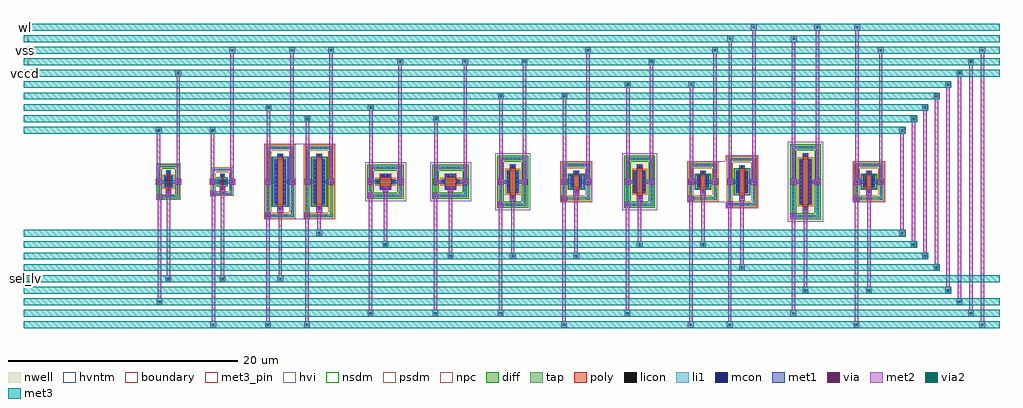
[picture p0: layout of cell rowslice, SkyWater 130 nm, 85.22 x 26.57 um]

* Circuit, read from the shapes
.subckt rowslice sel_lv vccd vdda vss vwl wl
XM1 vss sel_lv d_nfet_01v8_w0p5_l0p15_0/D vss sky130_fd_pr__nfet_01v8 w=0.5 l=0.15
XM2 vss sel_lv d_nfet_g5v0d10v5_w4_l0p5_2/D vss sky130_fd_pr__nfet_g5v0d10v5 w=4 l=0.5
XM3 vss d_nfet_01v8_w0p5_l0p15_0/D d_nfet_g5v0d10v5_w4_l0p5_3/D vss sky130_fd_pr__nfet_g5v0d10v5 w=4 l=0.5
XM4 vss d_nfet_g5v0d10v5_w4_l0p5_2/D d_nfet_g5v0d10v5_w1_l0p5_7/D vss sky130_fd_pr__nfet_g5v0d10v5 w=1 l=0.5
XM5 vss d_nfet_g5v0d10v5_w4_l0p5_3/D d_nfet_g5v0d10v5_w1_l0p5_9/D vss sky130_fd_pr__nfet_g5v0d10v5 w=1 l=0.5
XM6 wl d_nfet_g5v0d10v5_w1_l0p5_7/D vwl vss sky130_fd_pr__nfet_g5v0d10v5 w=2 l=0.5
XM7 vss d_nfet_g5v0d10v5_w1_l0p5_9/D wl vss sky130_fd_pr__nfet_g5v0d10v5 w=1 l=0.5
XM8 vccd sel_lv d_nfet_01v8_w0p5_l0p15_0/D vccd sky130_fd_pr__pfet_01v8 w=1 l=0.15
XM9 vdda d_nfet_g5v0d10v5_w4_l0p5_3/D d_nfet_g5v0d10v5_w4_l0p5_2/D vdda sky130_fd_pr__pfet_g5v0d10v5 w=0.42 l=1
XM10 vdda d_nfet_g5v0d10v5_w4_l0p5_2/D d_nfet_g5v0d10v5_w4_l0p5_3/D vdda sky130_fd_pr__pfet_g5v0d10v5 w=0.42 l=1
XM11 vdda d_nfet_g5v0d10v5_w4_l0p5_2/D d_nfet_g5v0d10v5_w1_l0p5_7/D vdda sky130_fd_pr__pfet_g5v0d10v5 w=2 l=0.5
XM12 vdda d_nfet_g5v0d10v5_w4_l0p5_3/D d_nfet_g5v0d10v5_w1_l0p5_9/D vdda sky130_fd_pr__pfet_g5v0d10v5 w=2 l=0.5
XM13 wl d_nfet_g5v0d10v5_w1_l0p5_9/D vwl vdda sky130_fd_pr__pfet_g5v0d10v5 w=4 l=0.5
.ends

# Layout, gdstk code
import gdstk
lib = gdstk.Library(unit=1e-6, precision=1e-09)
def R(c, l, rs):  # rectangles x0, y0, x1, y1
    for r in rs: c.add(gdstk.rectangle(r[:2], r[2:], *l))
def A(c, l, x, y, w, h, nx, ny, dx, dy):  # array of equal rectangles
    R(c, l, [(x+i*dx, y+j*dy, x+i*dx+w, y+j*dy+h) for i in range(nx) for j in range(ny)])
nwell = (64, 20)
diff = (65, 20)
tap = (65, 44)
poly = (66, 20)
licon = (66, 44)
li1 = (67, 20)
mcon = (67, 44)
met1 = (68, 20)
via = (68, 44)
met2 = (69, 20)
via2 = (69, 44)
met3_pin = (70, 16)
met3 = (70, 20)
hvi = (75, 20)
nsdm = (93, 44)
psdm = (94, 20)
npc = (95, 20)
hvntm = (125, 20)
boundary = (235, 4)

d_nfet_01v8_w0p5_l0p15 = lib.new_cell('d_nfet_01v8_w0p5_l0p15')
R(d_nfet_01v8_w0p5_l0p15, diff, [(-0.365,-0.25,0.365,0.25)])
R(d_nfet_01v8_w0p5_l0p15, tap, [(-0.875,-1.12,0.875,-0.95), (-0.875,-0.95,-0.705,0.95), (0.705,-0.95,0.875,0.95), (-0.875,0.95,0.875,1.12)])
R(d_nfet_01v8_w0p5_l0p15, poly, [(-0.165,-0.69,0.165,-0.36), (-0.075,-0.36,0.075,0.36), (-0.165,0.36,0.165,0.69)])
A(d_nfet_01v8_w0p5_l0p15, licon, -0.875, -0.595, 0.17, 0.17, 1, 4, 0, 0.34)
A(d_nfet_01v8_w0p5_l0p15, licon, 0.705, -0.595, 0.17, 0.17, 1, 4, 0, 0.34)
R(d_nfet_01v8_w0p5_l0p15, licon, [(-0.255,-1.12,-0.085,-0.95), (0.085,-1.12,0.255,-0.95), (-0.085,-0.61,0.085,-0.44), (-0.305,-0.085,-0.135,0.085), (0.135,-0.085,0.305,0.085), (-0.085,0.44,0.085,0.61), (-0.255,0.95,-0.085,1.12), (0.085,0.95,0.255,1.12)])
R(d_nfet_01v8_w0p5_l0p15, li1, [(-0.875,-1.12,0.875,-0.95), (-0.875,-0.95,-0.705,0.95), (0.705,-0.95,0.875,0.95), (-0.165,-0.61,0.165,-0.44), (-0.305,-0.27,-0.135,0.27), (0.135,-0.27,0.305,0.27), (-0.165,0.44,0.165,0.61), (-0.875,0.95,0.875,1.12)])
R(d_nfet_01v8_w0p5_l0p15, mcon, [(-0.085,-0.61,0.085,-0.44), (-0.305,-0.085,-0.135,0.085), (0.135,-0.085,0.305,0.085), (-0.085,0.44,0.085,0.61)])
R(d_nfet_01v8_w0p5_l0p15, met1, [(-0.145,-0.64,0.145,-0.41), (-0.335,-0.25,-0.105,0.25), (0.105,-0.25,0.335,0.25), (-0.145,0.41,0.145,0.64)])
R(d_nfet_01v8_w0p5_l0p15, nsdm, [(-0.49,-0.375,0.49,0.375)])
R(d_nfet_01v8_w0p5_l0p15, psdm, [(-1,-1.245,1,-0.825), (-1,-0.825,-0.58,0.825), (0.58,-0.825,1,0.825), (-1,0.825,1,1.245)])
R(d_nfet_01v8_w0p5_l0p15, npc, [(-0.185,-0.71,0.185,-0.34), (-0.185,0.34,0.185,0.71)])
R(d_nfet_01v8_w0p5_l0p15, boundary, [(-0.79,-1.035,0.79,1.035)])
d_nfet_01v8_w0p5_l0p15.add(gdstk.Label('B', (0,-1.035), layer=67, texttype=5))
d_nfet_01v8_w0p5_l0p15.add(gdstk.Label('D', (-0.22,0), layer=67, texttype=5))
d_nfet_01v8_w0p5_l0p15.add(gdstk.Label('S', (0.22,0), layer=67, texttype=5))
d_nfet_01v8_w0p5_l0p15.add(gdstk.Label('G', (0,0.525), layer=67, texttype=5))

d_pfet_01v8_w1_l0p15 = lib.new_cell('d_pfet_01v8_w1_l0p15')
R(d_pfet_01v8_w1_l0p15, nwell, [(-1.055,-1.595,1.055,1.595)])
R(d_pfet_01v8_w1_l0p15, diff, [(-0.365,-0.5,0.365,0.5)])
R(d_pfet_01v8_w1_l0p15, tap, [(-0.875,-1.415,0.875,-1.245), (-0.875,-1.245,-0.705,1.245), (0.705,-1.245,0.875,1.245), (-0.875,1.245,0.875,1.415)])
R(d_pfet_01v8_w1_l0p15, poly, [(-0.165,-0.985,0.165,-0.655), (-0.075,-0.655,0.075,0.655), (-0.165,0.655,0.165,0.985)])
A(d_pfet_01v8_w1_l0p15, licon, -0.875, -0.935, 0.17, 0.17, 1, 6, 0, 0.34)
A(d_pfet_01v8_w1_l0p15, licon, 0.705, -0.935, 0.17, 0.17, 1, 6, 0, 0.34)
A(d_pfet_01v8_w1_l0p15, licon, -0.305, -0.425, 0.17, 0.17, 1, 3, 0, 0.34)
A(d_pfet_01v8_w1_l0p15, licon, 0.135, -0.425, 0.17, 0.17, 1, 3, 0, 0.34)
R(d_pfet_01v8_w1_l0p15, licon, [(-0.255,-1.415,-0.085,-1.245), (0.085,-1.415,0.255,-1.245), (-0.085,-0.905,0.085,-0.735), (-0.085,0.735,0.085,0.905), (-0.255,1.245,-0.085,1.415), (0.085,1.245,0.255,1.415)])
R(d_pfet_01v8_w1_l0p15, li1, [(-0.875,-1.415,0.875,-1.245), (-0.875,-1.245,-0.705,1.245), (0.705,-1.245,0.875,1.245), (-0.165,-0.905,0.165,-0.735), (-0.305,-0.52,-0.135,0.52), (0.135,-0.52,0.305,0.52), (-0.165,0.735,0.165,0.905), (-0.875,1.245,0.875,1.415)])
R(d_pfet_01v8_w1_l0p15, mcon, [(-0.085,-0.905,0.085,-0.735), (-0.305,-0.265,-0.135,-0.095), (0.135,-0.265,0.305,-0.095), (-0.305,0.095,-0.135,0.265), (0.135,0.095,0.305,0.265), (-0.085,0.735,0.085,0.905)])
R(d_pfet_01v8_w1_l0p15, met1, [(-0.145,-0.935,0.145,-0.705), (-0.335,-0.5,-0.105,0.5), (0.105,-0.5,0.335,0.5), (-0.145,0.705,0.145,0.935)])
R(d_pfet_01v8_w1_l0p15, nsdm, [(-1,-1.54,1,-1.12), (-1,-1.12,-0.58,1.12), (0.58,-1.12,1,1.12), (-1,1.12,1,1.54)])
R(d_pfet_01v8_w1_l0p15, psdm, [(-0.49,-0.625,0.49,0.625)])
R(d_pfet_01v8_w1_l0p15, npc, [(-0.185,-1.005,0.185,-0.635), (-0.185,0.635,0.185,1.005)])
R(d_pfet_01v8_w1_l0p15, boundary, [(-0.79,-1.33,0.79,1.33)])
d_pfet_01v8_w1_l0p15.add(gdstk.Label('B', (0,-1.33), layer=67, texttype=5))
d_pfet_01v8_w1_l0p15.add(gdstk.Label('D', (-0.22,0), layer=67, texttype=5))
d_pfet_01v8_w1_l0p15.add(gdstk.Label('S', (0.22,0), layer=67, texttype=5))
d_pfet_01v8_w1_l0p15.add(gdstk.Label('G', (0,0.82), layer=67, texttype=5))

d_nfet_g5v0d10v5_w4_l0p5 = lib.new_cell('d_nfet_g5v0d10v5_w4_l0p5')
R(d_nfet_g5v0d10v5_w4_l0p5, diff, [(-0.54,-2,0.54,2)])
R(d_nfet_g5v0d10v5_w4_l0p5, tap, [(-1.22,-3.11,1.22,-2.82), (-1.22,-2.82,-0.93,2.82), (0.93,-2.82,1.22,2.82), (-1.22,2.82,1.22,3.11)])
R(d_nfet_g5v0d10v5_w4_l0p5, poly, [(-0.25,-2.44,0.25,2.44)])
A(d_nfet_g5v0d10v5_w4_l0p5, licon, -0.595, -3.05, 0.17, 0.17, 4, 2, 0.34, 5.93)
A(d_nfet_g5v0d10v5_w4_l0p5, licon, -1.16, -2.465, 0.17, 0.17, 1, 15, 0, 0.34)
A(d_nfet_g5v0d10v5_w4_l0p5, licon, 0.99, -2.465, 0.17, 0.17, 1, 15, 0, 0.34)
A(d_nfet_g5v0d10v5_w4_l0p5, licon, -0.48, -1.785, 0.17, 0.17, 1, 11, 0, 0.34)
A(d_nfet_g5v0d10v5_w4_l0p5, licon, 0.31, -1.785, 0.17, 0.17, 1, 11, 0, 0.34)
R(d_nfet_g5v0d10v5_w4_l0p5, licon, [(-0.085,-2.36,0.085,-2.19), (-0.085,2.19,0.085,2.36)])
R(d_nfet_g5v0d10v5_w4_l0p5, li1, [(-1.16,-3.05,1.16,-2.88), (-1.16,-2.88,-0.99,2.88), (0.99,-2.88,1.16,2.88), (-0.25,-2.36,0.25,-2.19), (-0.48,-2.02,-0.31,2.02), (0.31,-2.02,0.48,2.02), (-0.25,2.19,0.25,2.36), (-1.16,2.88,1.16,3.05)])
A(d_nfet_g5v0d10v5_w4_l0p5, mcon, -0.48, -1.885, 0.17, 0.17, 1, 11, 0, 0.36)
A(d_nfet_g5v0d10v5_w4_l0p5, mcon, 0.31, -1.885, 0.17, 0.17, 1, 11, 0, 0.36)
R(d_nfet_g5v0d10v5_w4_l0p5, mcon, [(-0.085,-2.36,0.085,-2.19), (-0.085,2.19,0.085,2.36)])
R(d_nfet_g5v0d10v5_w4_l0p5, met1, [(-0.23,-2.39,0.23,-2.16), (-0.51,-2,-0.28,2), (0.28,-2,0.51,2), (-0.23,2.16,0.23,2.39)])
R(d_nfet_g5v0d10v5_w4_l0p5, hvi, [(-1.405,-3.295,1.405,3.295)])
R(d_nfet_g5v0d10v5_w4_l0p5, nsdm, [(-0.665,-2.125,0.665,2.125)])
R(d_nfet_g5v0d10v5_w4_l0p5, psdm, [(-1.345,-3.235,1.345,-2.695), (-1.345,-2.695,-0.805,2.695), (0.805,-2.695,1.345,2.695), (-1.345,2.695,1.345,3.235)])
R(d_nfet_g5v0d10v5_w4_l0p5, npc, [(-0.185,-2.46,0.185,-2.09), (-0.185,2.09,0.185,2.46)])
R(d_nfet_g5v0d10v5_w4_l0p5, hvntm, [(-0.725,-2.185,0.725,2.185)])
R(d_nfet_g5v0d10v5_w4_l0p5, boundary, [(-1.075,-2.965,1.075,2.965)])
d_nfet_g5v0d10v5_w4_l0p5.add(gdstk.Label('B', (0,-2.965), layer=67, texttype=5))
d_nfet_g5v0d10v5_w4_l0p5.add(gdstk.Label('D', (-0.395,0), layer=67, texttype=5))
d_nfet_g5v0d10v5_w4_l0p5.add(gdstk.Label('S', (0.395,0), layer=67, texttype=5))
d_nfet_g5v0d10v5_w4_l0p5.add(gdstk.Label('G', (0,2.275), layer=67, texttype=5))

d_pfet_g5v0d10v5_w0p42_l = lib.new_cell('d_pfet_g5v0d10v5_w0p42_l1')
R(d_pfet_g5v0d10v5_w0p42_l, nwell, [(-1.79,-1.695,1.79,1.695)])
R(d_pfet_g5v0d10v5_w0p42_l, diff, [(-0.79,-0.21,0.79,0.21)])
R(d_pfet_g5v0d10v5_w0p42_l, tap, [(-1.46,-1.365,1.46,-1.075), (-1.46,-1.075,-1.17,1.075), (1.17,-1.075,1.46,1.075), (-1.46,1.075,1.46,1.365)])
R(d_pfet_g5v0d10v5_w0p42_l, poly, [(-0.5,-0.695,0.5,0.695)])
A(d_pfet_g5v0d10v5_w0p42_l, licon, -0.765, -1.305, 0.17, 0.17, 5, 2, 0.34, 2.44)
A(d_pfet_g5v0d10v5_w0p42_l, licon, -1.4, -0.765, 0.17, 0.17, 1, 5, 0, 0.34)
A(d_pfet_g5v0d10v5_w0p42_l, licon, 1.23, -0.765, 0.17, 0.17, 1, 5, 0, 0.34)
R(d_pfet_g5v0d10v5_w0p42_l, licon, [(-0.255,-0.615,-0.085,-0.445), (0.085,-0.615,0.255,-0.445), (-0.73,-0.085,-0.56,0.085), (0.56,-0.085,0.73,0.085), (-0.255,0.445,-0.085,0.615), (0.085,0.445,0.255,0.615)])
R(d_pfet_g5v0d10v5_w0p42_l, li1, [(-1.4,-1.305,1.4,-1.135), (-1.4,-1.135,-1.23,1.135), (1.23,-1.135,1.4,1.135), (-0.5,-0.615,0.5,-0.445), (-0.73,-0.23,-0.56,0.23), (0.56,-0.23,0.73,0.23), (-0.5,0.445,0.5,0.615), (-1.4,1.135,1.4,1.305)])
R(d_pfet_g5v0d10v5_w0p42_l, mcon, [(-0.265,-0.615,-0.095,-0.445), (0.095,-0.615,0.265,-0.445), (-0.73,-0.085,-0.56,0.085), (0.56,-0.085,0.73,0.085), (-0.265,0.445,-0.095,0.615), (0.095,0.445,0.265,0.615)])
R(d_pfet_g5v0d10v5_w0p42_l, met1, [(-0.48,-0.645,0.48,-0.415), (-0.76,-0.21,-0.53,0.21), (0.53,-0.21,0.76,0.21), (-0.48,0.415,0.48,0.645)])
R(d_pfet_g5v0d10v5_w0p42_l, hvi, [(-1.79,-1.695,1.79,1.695)])
R(d_pfet_g5v0d10v5_w0p42_l, nsdm, [(-1.585,-1.49,1.585,-0.95), (-1.585,-0.95,-1.045,0.95), (1.045,-0.95,1.585,0.95), (-1.585,0.95,1.585,1.49)])
R(d_pfet_g5v0d10v5_w0p42_l, psdm, [(-0.915,-0.335,0.915,0.335)])
R(d_pfet_g5v0d10v5_w0p42_l, npc, [(-0.355,-0.715,0.355,-0.345), (-0.355,0.345,0.355,0.715)])
R(d_pfet_g5v0d10v5_w0p42_l, boundary, [(-1.315,-1.22,1.315,1.22)])
d_pfet_g5v0d10v5_w0p42_l.add(gdstk.Label('B', (0,-1.22), layer=67, texttype=5))
d_pfet_g5v0d10v5_w0p42_l.add(gdstk.Label('D', (-0.645,0), layer=67, texttype=5))
d_pfet_g5v0d10v5_w0p42_l.add(gdstk.Label('S', (0.645,0), layer=67, texttype=5))
d_pfet_g5v0d10v5_w0p42_l.add(gdstk.Label('G', (0,0.53), layer=67, texttype=5))

d_pfet_g5v0d10v5_w2_l0p5 = lib.new_cell('d_pfet_g5v0d10v5_w2_l0p5')
R(d_pfet_g5v0d10v5_w2_l0p5, nwell, [(-1.54,-2.485,1.54,2.485)])
R(d_pfet_g5v0d10v5_w2_l0p5, diff, [(-0.54,-1,0.54,1)])
R(d_pfet_g5v0d10v5_w2_l0p5, tap, [(-1.21,-2.155,1.21,-1.865), (-1.21,-1.865,-0.92,1.865), (0.92,-1.865,1.21,1.865), (-1.21,1.865,1.21,2.155)])
R(d_pfet_g5v0d10v5_w2_l0p5, poly, [(-0.25,-1.485,0.25,1.485)])
A(d_pfet_g5v0d10v5_w2_l0p5, licon, -0.595, -2.095, 0.17, 0.17, 4, 2, 0.34, 4.02)
A(d_pfet_g5v0d10v5_w2_l0p5, licon, -1.15, -1.615, 0.17, 0.17, 1, 10, 0, 0.34)
A(d_pfet_g5v0d10v5_w2_l0p5, licon, 0.98, -1.615, 0.17, 0.17, 1, 10, 0, 0.34)
A(d_pfet_g5v0d10v5_w2_l0p5, licon, -0.48, -0.935, 0.17, 0.17, 1, 6, 0, 0.34)
A(d_pfet_g5v0d10v5_w2_l0p5, licon, 0.31, -0.935, 0.17, 0.17, 1, 6, 0, 0.34)
R(d_pfet_g5v0d10v5_w2_l0p5, licon, [(-0.085,-1.405,0.085,-1.235), (-0.085,1.235,0.085,1.405)])
R(d_pfet_g5v0d10v5_w2_l0p5, li1, [(-1.15,-2.095,1.15,-1.925), (-1.15,-1.925,-0.98,1.925), (0.98,-1.925,1.15,1.925), (-0.25,-1.405,0.25,-1.235), (-0.48,-1.02,-0.31,1.02), (0.31,-1.02,0.48,1.02), (-0.25,1.235,0.25,1.405), (-1.15,1.925,1.15,2.095)])
A(d_pfet_g5v0d10v5_w2_l0p5, mcon, -0.48, -0.805, 0.17, 0.17, 1, 5, 0, 0.36)
A(d_pfet_g5v0d10v5_w2_l0p5, mcon, 0.31, -0.805, 0.17, 0.17, 1, 5, 0, 0.36)
R(d_pfet_g5v0d10v5_w2_l0p5, mcon, [(-0.085,-1.405,0.085,-1.235), (-0.085,1.235,0.085,1.405)])
R(d_pfet_g5v0d10v5_w2_l0p5, met1, [(-0.23,-1.435,0.23,-1.205), (-0.51,-1,-0.28,1), (0.28,-1,0.51,1), (-0.23,1.205,0.23,1.435)])
R(d_pfet_g5v0d10v5_w2_l0p5, hvi, [(-1.54,-2.485,1.54,2.485)])
R(d_pfet_g5v0d10v5_w2_l0p5, nsdm, [(-1.335,-2.28,1.335,-1.74), (-1.335,-1.74,-0.795,1.74), (0.795,-1.74,1.335,1.74), (-1.335,1.74,1.335,2.28)])
R(d_pfet_g5v0d10v5_w2_l0p5, psdm, [(-0.665,-1.125,0.665,1.125)])
R(d_pfet_g5v0d10v5_w2_l0p5, npc, [(-0.185,-1.505,0.185,-1.135), (-0.185,1.135,0.185,1.505)])
R(d_pfet_g5v0d10v5_w2_l0p5, boundary, [(-1.065,-2.01,1.065,2.01)])
d_pfet_g5v0d10v5_w2_l0p5.add(gdstk.Label('B', (0,-2.01), layer=67, texttype=5))
d_pfet_g5v0d10v5_w2_l0p5.add(gdstk.Label('D', (-0.395,0), layer=67, texttype=5))
d_pfet_g5v0d10v5_w2_l0p5.add(gdstk.Label('S', (0.395,0), layer=67, texttype=5))
d_pfet_g5v0d10v5_w2_l0p5.add(gdstk.Label('G', (0,1.32), layer=67, texttype=5))

d_nfet_g5v0d10v5_w1_l0p5 = lib.new_cell('d_nfet_g5v0d10v5_w1_l0p5')
R(d_nfet_g5v0d10v5_w1_l0p5, diff, [(-0.54,-0.5,0.54,0.5)])
R(d_nfet_g5v0d10v5_w1_l0p5, tap, [(-1.22,-1.61,1.22,-1.32), (-1.22,-1.32,-0.93,1.32), (0.93,-1.32,1.22,1.32), (-1.22,1.32,1.22,1.61)])
R(d_nfet_g5v0d10v5_w1_l0p5, poly, [(-0.25,-0.94,0.25,0.94)])
A(d_nfet_g5v0d10v5_w1_l0p5, licon, -0.595, -1.55, 0.17, 0.17, 4, 2, 0.34, 2.93)
A(d_nfet_g5v0d10v5_w1_l0p5, licon, -1.16, -0.935, 0.17, 0.17, 1, 6, 0, 0.34)
A(d_nfet_g5v0d10v5_w1_l0p5, licon, 0.99, -0.935, 0.17, 0.17, 1, 6, 0, 0.34)
A(d_nfet_g5v0d10v5_w1_l0p5, licon, -0.48, -0.425, 0.17, 0.17, 1, 3, 0, 0.34)
A(d_nfet_g5v0d10v5_w1_l0p5, licon, 0.31, -0.425, 0.17, 0.17, 1, 3, 0, 0.34)
R(d_nfet_g5v0d10v5_w1_l0p5, licon, [(-0.085,-0.86,0.085,-0.69), (-0.085,0.69,0.085,0.86)])
R(d_nfet_g5v0d10v5_w1_l0p5, li1, [(-1.16,-1.55,1.16,-1.38), (-1.16,-1.38,-0.99,1.38), (0.99,-1.38,1.16,1.38), (-0.25,-0.86,0.25,-0.69), (-0.48,-0.52,-0.31,0.52), (0.31,-0.52,0.48,0.52), (-0.25,0.69,0.25,0.86), (-1.16,1.38,1.16,1.55)])
R(d_nfet_g5v0d10v5_w1_l0p5, mcon, [(-0.085,-0.86,0.085,-0.69), (-0.48,-0.265,-0.31,-0.095), (0.31,-0.265,0.48,-0.095), (-0.48,0.095,-0.31,0.265), (0.31,0.095,0.48,0.265), (-0.085,0.69,0.085,0.86)])
R(d_nfet_g5v0d10v5_w1_l0p5, met1, [(-0.23,-0.89,0.23,-0.66), (-0.51,-0.5,-0.28,0.5), (0.28,-0.5,0.51,0.5), (-0.23,0.66,0.23,0.89)])
R(d_nfet_g5v0d10v5_w1_l0p5, hvi, [(-1.405,-1.795,1.405,1.795)])
R(d_nfet_g5v0d10v5_w1_l0p5, nsdm, [(-0.665,-0.625,0.665,0.625)])
R(d_nfet_g5v0d10v5_w1_l0p5, psdm, [(-1.345,-1.735,1.345,-1.195), (-1.345,-1.195,-0.805,1.195), (0.805,-1.195,1.345,1.195), (-1.345,1.195,1.345,1.735)])
R(d_nfet_g5v0d10v5_w1_l0p5, npc, [(-0.185,-0.96,0.185,-0.59), (-0.185,0.59,0.185,0.96)])
R(d_nfet_g5v0d10v5_w1_l0p5, hvntm, [(-0.725,-0.685,0.725,0.685)])
R(d_nfet_g5v0d10v5_w1_l0p5, boundary, [(-1.075,-1.465,1.075,1.465)])
d_nfet_g5v0d10v5_w1_l0p5.add(gdstk.Label('B', (0,-1.465), layer=67, texttype=5))
d_nfet_g5v0d10v5_w1_l0p5.add(gdstk.Label('D', (-0.395,0), layer=67, texttype=5))
d_nfet_g5v0d10v5_w1_l0p5.add(gdstk.Label('S', (0.395,0), layer=67, texttype=5))
d_nfet_g5v0d10v5_w1_l0p5.add(gdstk.Label('G', (0,0.775), layer=67, texttype=5))

d_nfet_g5v0d10v5_w2_l0p5 = lib.new_cell('d_nfet_g5v0d10v5_w2_l0p5')
R(d_nfet_g5v0d10v5_w2_l0p5, diff, [(-0.54,-1,0.54,1)])
R(d_nfet_g5v0d10v5_w2_l0p5, tap, [(-1.22,-2.11,1.22,-1.82), (-1.22,-1.82,-0.93,1.82), (0.93,-1.82,1.22,1.82), (-1.22,1.82,1.22,2.11)])
R(d_nfet_g5v0d10v5_w2_l0p5, poly, [(-0.25,-1.44,0.25,1.44)])
A(d_nfet_g5v0d10v5_w2_l0p5, licon, -0.595, -2.05, 0.17, 0.17, 4, 2, 0.34, 3.93)
A(d_nfet_g5v0d10v5_w2_l0p5, licon, -1.16, -1.445, 0.17, 0.17, 1, 9, 0, 0.34)
A(d_nfet_g5v0d10v5_w2_l0p5, licon, 0.99, -1.445, 0.17, 0.17, 1, 9, 0, 0.34)
A(d_nfet_g5v0d10v5_w2_l0p5, licon, -0.48, -0.935, 0.17, 0.17, 1, 6, 0, 0.34)
A(d_nfet_g5v0d10v5_w2_l0p5, licon, 0.31, -0.935, 0.17, 0.17, 1, 6, 0, 0.34)
R(d_nfet_g5v0d10v5_w2_l0p5, licon, [(-0.085,-1.36,0.085,-1.19), (-0.085,1.19,0.085,1.36)])
R(d_nfet_g5v0d10v5_w2_l0p5, li1, [(-1.16,-2.05,1.16,-1.88), (-1.16,-1.88,-0.99,1.88), (0.99,-1.88,1.16,1.88), (-0.25,-1.36,0.25,-1.19), (-0.48,-1.02,-0.31,1.02), (0.31,-1.02,0.48,1.02), (-0.25,1.19,0.25,1.36), (-1.16,1.88,1.16,2.05)])
A(d_nfet_g5v0d10v5_w2_l0p5, mcon, -0.48, -0.805, 0.17, 0.17, 1, 5, 0, 0.36)
A(d_nfet_g5v0d10v5_w2_l0p5, mcon, 0.31, -0.805, 0.17, 0.17, 1, 5, 0, 0.36)
R(d_nfet_g5v0d10v5_w2_l0p5, mcon, [(-0.085,-1.36,0.085,-1.19), (-0.085,1.19,0.085,1.36)])
R(d_nfet_g5v0d10v5_w2_l0p5, met1, [(-0.23,-1.39,0.23,-1.16), (-0.51,-1,-0.28,1), (0.28,-1,0.51,1), (-0.23,1.16,0.23,1.39)])
R(d_nfet_g5v0d10v5_w2_l0p5, hvi, [(-1.405,-2.295,1.405,2.295)])
R(d_nfet_g5v0d10v5_w2_l0p5, nsdm, [(-0.665,-1.125,0.665,1.125)])
R(d_nfet_g5v0d10v5_w2_l0p5, psdm, [(-1.345,-2.235,1.345,-1.695), (-1.345,-1.695,-0.805,1.695), (0.805,-1.695,1.345,1.695), (-1.345,1.695,1.345,2.235)])
R(d_nfet_g5v0d10v5_w2_l0p5, npc, [(-0.185,-1.46,0.185,-1.09), (-0.185,1.09,0.185,1.46)])
R(d_nfet_g5v0d10v5_w2_l0p5, hvntm, [(-0.725,-1.185,0.725,1.185)])
R(d_nfet_g5v0d10v5_w2_l0p5, boundary, [(-1.075,-1.965,1.075,1.965)])
d_nfet_g5v0d10v5_w2_l0p5.add(gdstk.Label('B', (0,-1.965), layer=67, texttype=5))
d_nfet_g5v0d10v5_w2_l0p5.add(gdstk.Label('D', (-0.395,0), layer=67, texttype=5))
d_nfet_g5v0d10v5_w2_l0p5.add(gdstk.Label('S', (0.395,0), layer=67, texttype=5))
d_nfet_g5v0d10v5_w2_l0p5.add(gdstk.Label('G', (0,1.275), layer=67, texttype=5))

d_pfet_g5v0d10v5_w4_l0p5 = lib.new_cell('d_pfet_g5v0d10v5_w4_l0p5')
R(d_pfet_g5v0d10v5_w4_l0p5, nwell, [(-1.54,-3.485,1.54,3.485)])
R(d_pfet_g5v0d10v5_w4_l0p5, diff, [(-0.54,-2,0.54,2)])
R(d_pfet_g5v0d10v5_w4_l0p5, tap, [(-1.21,-3.155,1.21,-2.865), (-1.21,-2.865,-0.92,2.865), (0.92,-2.865,1.21,2.865), (-1.21,2.865,1.21,3.155)])
R(d_pfet_g5v0d10v5_w4_l0p5, poly, [(-0.25,-2.485,0.25,2.485)])
A(d_pfet_g5v0d10v5_w4_l0p5, licon, -0.595, -3.095, 0.17, 0.17, 4, 2, 0.34, 6.02)
A(d_pfet_g5v0d10v5_w4_l0p5, licon, -1.15, -2.465, 0.17, 0.17, 1, 15, 0, 0.34)
A(d_pfet_g5v0d10v5_w4_l0p5, licon, 0.98, -2.465, 0.17, 0.17, 1, 15, 0, 0.34)
A(d_pfet_g5v0d10v5_w4_l0p5, licon, -0.48, -1.785, 0.17, 0.17, 1, 11, 0, 0.34)
A(d_pfet_g5v0d10v5_w4_l0p5, licon, 0.31, -1.785, 0.17, 0.17, 1, 11, 0, 0.34)
R(d_pfet_g5v0d10v5_w4_l0p5, licon, [(-0.085,-2.405,0.085,-2.235), (-0.085,2.235,0.085,2.405)])
R(d_pfet_g5v0d10v5_w4_l0p5, li1, [(-1.15,-3.095,1.15,-2.925), (-1.15,-2.925,-0.98,2.925), (0.98,-2.925,1.15,2.925), (-0.25,-2.405,0.25,-2.235), (-0.48,-2.02,-0.31,2.02), (0.31,-2.02,0.48,2.02), (-0.25,2.235,0.25,2.405), (-1.15,2.925,1.15,3.095)])
A(d_pfet_g5v0d10v5_w4_l0p5, mcon, -0.48, -1.885, 0.17, 0.17, 1, 11, 0, 0.36)
A(d_pfet_g5v0d10v5_w4_l0p5, mcon, 0.31, -1.885, 0.17, 0.17, 1, 11, 0, 0.36)
R(d_pfet_g5v0d10v5_w4_l0p5, mcon, [(-0.085,-2.405,0.085,-2.235), (-0.085,2.235,0.085,2.405)])
R(d_pfet_g5v0d10v5_w4_l0p5, met1, [(-0.23,-2.435,0.23,-2.205), (-0.51,-2,-0.28,2), (0.28,-2,0.51,2), (-0.23,2.205,0.23,2.435)])
R(d_pfet_g5v0d10v5_w4_l0p5, hvi, [(-1.54,-3.485,1.54,3.485)])
R(d_pfet_g5v0d10v5_w4_l0p5, nsdm, [(-1.335,-3.28,1.335,-2.74), (-1.335,-2.74,-0.795,2.74), (0.795,-2.74,1.335,2.74), (-1.335,2.74,1.335,3.28)])
R(d_pfet_g5v0d10v5_w4_l0p5, psdm, [(-0.665,-2.125,0.665,2.125)])
R(d_pfet_g5v0d10v5_w4_l0p5, npc, [(-0.185,-2.505,0.185,-2.135), (-0.185,2.135,0.185,2.505)])
R(d_pfet_g5v0d10v5_w4_l0p5, boundary, [(-1.065,-3.01,1.065,3.01)])
d_pfet_g5v0d10v5_w4_l0p5.add(gdstk.Label('B', (0,-3.01), layer=67, texttype=5))
d_pfet_g5v0d10v5_w4_l0p5.add(gdstk.Label('D', (-0.395,0), layer=67, texttype=5))
d_pfet_g5v0d10v5_w4_l0p5.add(gdstk.Label('S', (0.395,0), layer=67, texttype=5))
d_pfet_g5v0d10v5_w4_l0p5.add(gdstk.Label('G', (0,2.32), layer=67, texttype=5))

rowslice = lib.new_cell('rowslice')
R(rowslice, li1, [(55.53,-3.095,55.7,-2.925), (9.66,-3.05,9.83,-2.88), (13.06,-3.05,13.23,-2.88), (29.97,-2.095,30.14,-1.925), (41.05,-2.095,41.22,-1.925), (49.98,-2.05,50.15,-1.88), (35.5,-1.55,35.67,-1.38), (46.58,-1.55,46.75,-1.38), (61.06,-1.55,61.23,-1.38), (0.18,-1.415,0.35,-1.245), (18.61,-1.305,18.78,-1.135), (24.29,-1.305,24.46,-1.135), (4.89,-1.12,5.06,-0.95)])
R(rowslice, mcon, [(55.53,-3.095,55.7,-2.925), (9.66,-3.05,9.83,-2.88), (13.06,-3.05,13.23,-2.88), (29.97,-2.095,30.14,-1.925), (41.05,-2.095,41.22,-1.925), (49.98,-2.05,50.15,-1.88), (35.5,-1.55,35.67,-1.38), (46.58,-1.55,46.75,-1.38), (61.06,-1.55,61.23,-1.38), (0.18,-1.415,0.35,-1.245), (18.61,-1.305,18.78,-1.135), (24.29,-1.305,24.46,-1.135), (4.89,-1.12,5.06,-0.95)])
R(rowslice, met1, [(55.365,-3.26,55.865,-2.76), (9.495,-3.215,9.995,-2.715), (12.895,-3.215,13.395,-2.715), (56.43,-2.705,56.93,-2.205), (10.57,-2.66,11.07,-2.16), (13.97,-2.66,14.47,-2.16), (29.805,-2.26,30.305,-1.76), (40.885,-2.26,41.385,-1.76), (49.815,-2.215,50.315,-1.715), (35.335,-1.715,35.835,-1.215), (46.415,-1.715,46.915,-1.215), (60.895,-1.715,61.395,-1.215), (30.87,-1.705,31.37,-1.205), (41.95,-1.705,42.45,-1.205), (50.89,-1.66,51.39,-1.16), (0.015,-1.58,0.515,-1.08), (18.445,-1.47,18.945,-0.97), (24.125,-1.47,24.625,-0.97), (4.725,-1.285,5.225,-0.785), (0.805,-1.205,1.305,-0.705), (36.41,-1.16,36.91,-0.66), (47.49,-1.16,47.99,-0.66), (61.97,-1.16,62.47,-0.66), (19.76,-0.915,20.26,-0.415), (25.44,-0.915,25.94,-0.415), (5.515,-0.91,6.015,-0.41), (-0.05,-0.25,0.45,-0.15), (1.66,-0.25,2.16,-0.15), (4.66,-0.25,5.16,-0.15), (6.37,-0.25,6.87,-0.15), (9.54,-0.25,10.04,-0.15), (11.6,-0.25,12.1,-0.15), (12.94,-0.25,13.44,-0.15), (15,-0.25,15.5,-0.15), (18.48,-0.25,18.98,-0.15), (21.04,-0.25,21.54,-0.15), (24.16,-0.25,24.66,-0.15), (26.72,-0.25,27.22,-0.15), (29.84,-0.25,30.34,-0.15), (31.9,-0.25,32.4,-0.15), (35.38,-0.25,35.88,-0.15), (37.44,-0.25,37.94,-0.15), (40.92,-0.25,41.42,-0.15), (42.98,-0.25,43.48,-0.15), (46.46,-0.25,46.96,-0.15), (48.52,-0.25,49.02,-0.15), (49.86,-0.25,50.36,-0.15), (51.92,-0.25,52.42,-0.15), (55.4,-0.25,55.9,-0.15), (57.46,-0.25,57.96,-0.15), (60.94,-0.25,61.44,-0.15), (63,-0.25,63.5,-0.15), (-0.05,-0.15,0.75,0.15), (1.36,-0.15,2.16,0.15), (4.66,-0.15,5.46,0.15), (6.07,-0.15,6.87,0.15), (9.54,-0.15,10.34,0.15), (11.3,-0.15,12.1,0.15), (12.94,-0.15,13.74,0.15), (14.7,-0.15,15.5,0.15), (18.48,-0.15,19.28,0.15), (20.74,-0.15,21.54,0.15), (24.16,-0.15,24.96,0.15), (26.42,-0.15,27.22,0.15), (29.84,-0.15,30.64,0.15), (31.6,-0.15,32.4,0.15), (35.38,-0.15,36.18,0.15), (37.14,-0.15,37.94,0.15), (40.92,-0.15,41.72,0.15), (42.68,-0.15,43.48,0.15), (46.46,-0.15,47.26,0.15), (48.22,-0.15,49.02,0.15), (49.86,-0.15,50.66,0.15), (51.62,-0.15,52.42,0.15), (55.4,-0.15,56.2,0.15), (57.16,-0.15,57.96,0.15), (60.94,-0.15,61.74,0.15), (62.7,-0.15,63.5,0.15), (-0.05,0.15,0.45,0.25), (1.66,0.15,2.16,0.25), (4.66,0.15,5.16,0.25), (6.37,0.15,6.87,0.25), (9.54,0.15,10.04,0.25), (11.6,0.15,12.1,0.25), (12.94,0.15,13.44,0.25), (15,0.15,15.5,0.25), (18.48,0.15,18.98,0.25), (21.04,0.15,21.54,0.25), (24.16,0.15,24.66,0.25), (26.72,0.15,27.22,0.25), (29.84,0.15,30.34,0.25), (31.9,0.15,32.4,0.25), (35.38,0.15,35.88,0.25), (37.44,0.15,37.94,0.25), (40.92,0.15,41.42,0.25), (42.98,0.15,43.48,0.25), (46.46,0.15,46.96,0.25), (48.52,0.15,49.02,0.25), (49.86,0.15,50.36,0.25), (51.92,0.15,52.42,0.25), (55.4,0.15,55.9,0.25), (57.46,0.15,57.96,0.25), (60.94,0.15,61.44,0.25), (63,0.15,63.5,0.25), (5.565,0.41,5.965,0.71), (19.81,0.415,20.21,0.715), (25.49,0.415,25.89,0.715), (36.46,0.66,36.86,0.96), (47.54,0.66,47.94,0.96), (62.02,0.66,62.42,0.96), (0.855,0.705,1.255,1.005), (50.94,1.16,51.34,1.46), (30.92,1.205,31.32,1.505), (42,1.205,42.4,1.505), (10.62,2.16,11.02,2.46), (14.02,2.16,14.42,2.46), (56.48,2.205,56.88,2.505)])
R(rowslice, via, [(55.54,-3.085,55.69,-2.935), (9.67,-3.04,9.82,-2.89), (13.07,-3.04,13.22,-2.89), (56.605,-2.53,56.755,-2.38), (10.745,-2.485,10.895,-2.335), (14.145,-2.485,14.295,-2.335), (29.98,-2.085,30.13,-1.935), (41.06,-2.085,41.21,-1.935), (49.99,-2.04,50.14,-1.89), (35.51,-1.54,35.66,-1.39), (46.59,-1.54,46.74,-1.39), (61.07,-1.54,61.22,-1.39), (31.045,-1.53,31.195,-1.38), (42.125,-1.53,42.275,-1.38), (51.065,-1.485,51.215,-1.335), (0.19,-1.405,0.34,-1.255), (18.62,-1.295,18.77,-1.145), (24.3,-1.295,24.45,-1.145), (4.9,-1.11,5.05,-0.96), (0.98,-1.03,1.13,-0.88), (36.585,-0.985,36.735,-0.835), (47.665,-0.985,47.815,-0.835), (62.145,-0.985,62.295,-0.835), (19.935,-0.74,20.085,-0.59), (25.615,-0.74,25.765,-0.59), (5.69,-0.735,5.84,-0.585), (0.125,-0.075,0.275,0.075), (1.835,-0.075,1.985,0.075), (4.835,-0.075,4.985,0.075), (6.545,-0.075,6.695,0.075), (9.715,-0.075,9.865,0.075), (11.775,-0.075,11.925,0.075), (13.115,-0.075,13.265,0.075), (15.175,-0.075,15.325,0.075), (18.655,-0.075,18.805,0.075), (21.215,-0.075,21.365,0.075), (24.335,-0.075,24.485,0.075), (26.895,-0.075,27.045,0.075), (30.015,-0.075,30.165,0.075), (32.075,-0.075,32.225,0.075), (35.555,-0.075,35.705,0.075), (37.615,-0.075,37.765,0.075), (41.095,-0.075,41.245,0.075), (43.155,-0.075,43.305,0.075), (46.635,-0.075,46.785,0.075), (48.695,-0.075,48.845,0.075), (50.035,-0.075,50.185,0.075), (52.095,-0.075,52.245,0.075), (55.575,-0.075,55.725,0.075), (57.635,-0.075,57.785,0.075), (61.115,-0.075,61.265,0.075), (63.175,-0.075,63.325,0.075)])
A(rowslice, met2, 18.445, -11.735, 0.5, 0.5, 3, 1, 5.68, 0)
R(rowslice, met2, [(4.725,-12.735,5.225,-12.235), (9.495,-12.735,9.995,-12.235), (12.895,-12.735,13.395,-12.235), (35.335,-12.735,35.835,-12.235), (46.415,-12.735,46.915,-12.235), (49.815,-12.735,50.315,-12.235), (60.895,-12.735,61.395,-12.235), (71.87,-12.735,72.37,-12.235), (4.825,-12.235,5.125,-1.285), (9.595,-12.235,9.895,-3.215), (12.995,-12.235,13.295,-3.215), (35.435,-12.235,35.735,-1.715), (46.515,-12.235,46.815,-1.715), (49.915,-12.235,50.215,-2.215), (60.995,-12.235,61.295,-1.715), (71.97,-12.235,72.27,11.235), (40.885,-11.735,41.385,-11.235), (55.365,-11.735,55.865,-11.235), (70.87,-11.735,71.37,-11.235), (18.545,-11.235,18.845,-1.47), (24.225,-11.235,24.525,-1.47), (29.905,-11.235,30.205,-2.26), (40.985,-11.235,41.285,-2.26), (55.465,-11.235,55.765,-3.26), (70.97,-11.235,71.27,10.235), (0.015,-10.735,0.515,-10.235), (69.87,-10.735,70.37,-10.235), (0.115,-10.235,0.415,-1.58), (69.97,-10.235,70.27,9.235), (56.43,-9.735,56.93,-9.235), (61.97,-9.735,62.47,-9.235), (68.87,-9.735,69.37,-9.235), (56.53,-9.235,56.83,-2.705), (62.07,-9.235,62.37,-1.16), (68.97,-9.235,69.27,8.235), (0.805,-8.735,1.305,-8.235), (5.515,-8.735,6.015,-8.235), (10.57,-8.735,11.07,-8.235), (0.905,-8.235,1.205,-1.205), (5.615,-8.235,5.915,-0.91), (10.67,-8.235,10.97,-2.66), (50.89,-7.735,51.39,-7.235), (67.87,-7.735,68.37,-7.235), (50.99,-7.235,51.29,-1.66), (67.97,-7.235,68.27,7.235), (25.44,-6.735,25.94,-6.235), (30.87,-6.735,31.37,-6.235), (36.41,-6.735,36.91,-6.235), (66.87,-6.735,67.37,-6.235), (25.54,-6.235,25.84,-0.915), (30.97,-6.235,31.27,-1.705), (36.51,-6.235,36.81,-1.16), (66.97,-6.235,67.27,6.235), (19.76,-5.735,20.26,-5.235), (41.95,-5.735,42.45,-5.235), (47.49,-5.735,47.99,-5.235), (65.87,-5.735,66.37,-5.235), (19.86,-5.235,20.16,-0.915), (42.05,-5.235,42.35,-1.705), (47.59,-5.235,47.89,-1.16), (65.97,-5.235,66.27,5.235), (13.97,-4.735,14.47,-4.235), (64.87,-4.735,65.37,-4.235), (14.07,-4.235,14.37,-2.66), (64.97,-4.235,65.27,4.235), (55.365,-3.26,55.865,-2.76), (9.495,-3.215,9.995,-2.715), (12.895,-3.215,13.395,-2.715), (56.43,-2.705,56.93,-2.205), (10.57,-2.66,11.07,-2.16), (13.97,-2.66,14.47,-2.16), (29.805,-2.26,30.305,-1.76), (40.885,-2.26,41.385,-1.76), (49.815,-2.215,50.315,-1.715), (35.335,-1.715,35.835,-1.215), (46.415,-1.715,46.915,-1.215), (60.895,-1.715,61.395,-1.215), (30.87,-1.705,31.37,-1.205), (41.95,-1.705,42.45,-1.205), (50.89,-1.66,51.39,-1.16), (0.015,-1.58,0.515,-1.08), (18.445,-1.47,18.945,-0.97), (24.125,-1.47,24.625,-0.97), (4.725,-1.285,5.225,-0.785), (0.805,-1.205,1.305,-0.705), (36.41,-1.16,36.91,-0.66), (47.49,-1.16,47.99,-0.66), (61.97,-1.16,62.47,-0.66), (19.76,-0.915,20.26,-0.415), (25.44,-0.915,25.94,-0.415), (5.515,-0.91,6.015,-0.41), (-0.05,-0.25,0.45,0.25), (1.66,-0.25,2.16,0.25), (4.66,-0.25,5.16,0.25), (6.37,-0.25,6.87,0.25), (9.54,-0.25,10.04,0.25), (11.6,-0.25,12.1,0.25), (12.94,-0.25,13.44,0.25), (15,-0.25,15.5,0.25), (18.48,-0.25,18.98,0.25), (21.04,-0.25,21.54,0.25), (24.16,-0.25,24.66,0.25), (26.72,-0.25,27.22,0.25), (29.84,-0.25,30.34,0.25), (31.9,-0.25,32.4,0.25), (35.38,-0.25,35.88,0.25), (37.44,-0.25,37.94,0.25), (40.92,-0.25,41.42,0.25), (42.98,-0.25,43.48,0.25), (46.46,-0.25,46.96,0.25), (48.52,-0.25,49.02,0.25), (49.86,-0.25,50.36,0.25), (51.92,-0.25,52.42,0.25), (55.4,-0.25,55.9,0.25), (57.46,-0.25,57.96,0.25), (60.94,-0.25,61.44,0.25), (63,-0.25,63.5,0.25), (0.05,0.25,0.35,4.235), (1.76,0.25,2.06,9.235), (4.76,0.25,5.06,4.235), (6.47,0.25,6.77,11.235), (9.64,0.25,9.94,6.235), (11.7,0.25,12,11.235), (13.04,0.25,13.34,5.235), (15.1,0.25,15.4,11.235), (18.58,0.25,18.88,6.235), (21.14,0.25,21.44,10.235), (24.26,0.25,24.56,5.235), (26.82,0.25,27.12,10.235), (29.94,0.25,30.24,7.235), (32,0.25,32.3,10.235), (35.48,0.25,35.78,7.235), (37.54,0.25,37.84,11.235), (41.02,0.25,41.32,8.235), (43.08,0.25,43.38,10.235), (46.56,0.25,46.86,8.235), (48.62,0.25,48.92,11.235), (49.96,0.25,50.26,12.235), (52.02,0.25,52.32,13.235), (55.5,0.25,55.8,12.235), (57.56,0.25,57.86,13.235), (61.04,0.25,61.34,13.235), (63.1,0.25,63.4,11.235), (-0.05,4.235,0.45,4.735), (4.66,4.235,5.16,4.735), (64.87,4.235,65.37,4.735), (12.94,5.235,13.44,5.735), (24.16,5.235,24.66,5.735), (65.87,5.235,66.37,5.735), (9.54,6.235,10.04,6.735), (18.48,6.235,18.98,6.735), (66.87,6.235,67.37,6.735), (29.84,7.235,30.34,7.735), (35.38,7.235,35.88,7.735), (67.87,7.235,68.37,7.735), (40.92,8.235,41.42,8.735), (46.46,8.235,46.96,8.735), (68.87,8.235,69.37,8.735), (1.66,9.235,2.16,9.735), (69.87,9.235,70.37,9.735), (21.04,10.235,21.54,10.735), (26.72,10.235,27.22,10.735), (31.9,10.235,32.4,10.735), (42.98,10.235,43.48,10.735), (70.87,10.235,71.37,10.735), (6.37,11.235,6.87,11.735), (11.6,11.235,12.1,11.735), (15,11.235,15.5,11.735), (37.44,11.235,37.94,11.735), (48.52,11.235,49.02,11.735), (63,11.235,63.5,11.735), (71.87,11.235,72.37,11.735), (49.86,12.235,50.36,12.735), (55.4,12.235,55.9,12.735), (51.92,13.235,52.42,13.735), (57.46,13.235,57.96,13.735), (60.94,13.235,61.44,13.735)])
A(rowslice, via2, 18.595, -11.585, 0.2, 0.2, 3, 1, 5.68, 0)
R(rowslice, via2, [(4.875,-12.585,5.075,-12.385), (9.645,-12.585,9.845,-12.385), (13.045,-12.585,13.245,-12.385), (35.485,-12.585,35.685,-12.385), (46.565,-12.585,46.765,-12.385), (49.965,-12.585,50.165,-12.385), (61.045,-12.585,61.245,-12.385), (72.02,-12.585,72.22,-12.385), (41.035,-11.585,41.235,-11.385), (55.515,-11.585,55.715,-11.385), (71.02,-11.585,71.22,-11.385), (0.165,-10.585,0.365,-10.385), (70.02,-10.585,70.22,-10.385), (56.58,-9.585,56.78,-9.385), (62.12,-9.585,62.32,-9.385), (69.02,-9.585,69.22,-9.385), (0.955,-8.585,1.155,-8.385), (5.665,-8.585,5.865,-8.385), (10.72,-8.585,10.92,-8.385), (51.04,-7.585,51.24,-7.385), (68.02,-7.585,68.22,-7.385), (25.59,-6.585,25.79,-6.385), (31.02,-6.585,31.22,-6.385), (36.56,-6.585,36.76,-6.385), (67.02,-6.585,67.22,-6.385), (19.91,-5.585,20.11,-5.385), (42.1,-5.585,42.3,-5.385), (47.64,-5.585,47.84,-5.385), (66.02,-5.585,66.22,-5.385), (14.12,-4.585,14.32,-4.385), (65.02,-4.585,65.22,-4.385), (0.1,4.385,0.3,4.585), (4.81,4.385,5.01,4.585), (65.02,4.385,65.22,4.585), (13.09,5.385,13.29,5.585), (24.31,5.385,24.51,5.585), (66.02,5.385,66.22,5.585), (9.69,6.385,9.89,6.585), (18.63,6.385,18.83,6.585), (67.02,6.385,67.22,6.585), (29.99,7.385,30.19,7.585), (35.53,7.385,35.73,7.585), (68.02,7.385,68.22,7.585), (41.07,8.385,41.27,8.585), (46.61,8.385,46.81,8.585), (69.02,8.385,69.22,8.585), (1.81,9.385,2.01,9.585), (70.02,9.385,70.22,9.585), (21.19,10.385,21.39,10.585), (26.87,10.385,27.07,10.585), (32.05,10.385,32.25,10.585), (43.13,10.385,43.33,10.585), (71.02,10.385,71.22,10.585), (6.52,11.385,6.72,11.585), (11.75,11.385,11.95,11.585), (15.15,11.385,15.35,11.585), (37.59,11.385,37.79,11.585), (48.67,11.385,48.87,11.585), (63.15,11.385,63.35,11.585), (72.02,11.385,72.22,11.585), (50.01,12.385,50.21,12.585), (55.55,12.385,55.75,12.585), (52.07,13.385,52.27,13.585), (57.61,13.385,57.81,13.585), (61.09,13.385,61.29,13.585)])
A(rowslice, met3_pin, -11.6, 9.185, 0.4, 0.6, 1, 5, 0, 1)
R(rowslice, met3_pin, [(-11.6,-8.785,-11.2,-8.185)])
A(rowslice, met3, -11.6, -12.785, 85.22, 0.6, 1, 3, 0, 1)
A(rowslice, met3, -11.6, 9.185, 85.22, 0.6, 1, 5, 0, 1)
R(rowslice, met3, [(-11.6,-9.785,69.42,-9.185), (-11.6,-8.785,73.62,-8.185), (-11.6,-7.785,68.42,-7.185), (-11.6,-6.785,67.42,-6.185), (-11.6,-5.785,66.42,-5.185), (-11.6,-4.785,65.42,-4.185), (-11.6,4.185,65.42,4.785), (-11.6,5.185,66.42,5.785), (-11.6,6.185,67.42,6.785), (-11.6,7.185,68.42,7.785), (-11.6,8.185,69.42,8.785)])
R(rowslice, hvi, [(12.225,-3.295,12.815,3.295), (49.145,-1.795,49.735,1.795)])
rowslice.add(gdstk.Reference(d_nfet_01v8_w0p5_l0p15, (5.765,0)))
rowslice.add(gdstk.Reference(d_pfet_01v8_w1_l0p15, (1.055,0)))
rowslice.add(gdstk.Reference(d_nfet_g5v0d10v5_w4_l0p5, (10.82,0)))
rowslice.add(gdstk.Reference(d_nfet_g5v0d10v5_w4_l0p5, (14.22,0)))
rowslice.add(gdstk.Reference(d_pfet_g5v0d10v5_w0p42_l, (20.01,0)))
rowslice.add(gdstk.Reference(d_pfet_g5v0d10v5_w0p42_l, (25.69,0)))
rowslice.add(gdstk.Reference(d_pfet_g5v0d10v5_w2_l0p5, (31.12,0)))
rowslice.add(gdstk.Reference(d_nfet_g5v0d10v5_w1_l0p5, (36.66,0)))
rowslice.add(gdstk.Reference(d_pfet_g5v0d10v5_w2_l0p5, (42.2,0)))
rowslice.add(gdstk.Reference(d_nfet_g5v0d10v5_w1_l0p5, (47.74,0)))
rowslice.add(gdstk.Reference(d_nfet_g5v0d10v5_w2_l0p5, (51.14,0)))
rowslice.add(gdstk.Reference(d_pfet_g5v0d10v5_w4_l0p5, (56.68,0)))
rowslice.add(gdstk.Reference(d_nfet_g5v0d10v5_w1_l0p5, (62.22,0)))
rowslice.add(gdstk.Label('sel_lv', (-11.4,-8.485), layer=70, texttype=5))
rowslice.add(gdstk.Label('wl', (-11.4,13.485), layer=70, texttype=5))
rowslice.add(gdstk.Label('vwl', (-11.4,12.485), layer=70, texttype=5))
rowslice.add(gdstk.Label('vccd', (-11.4,9.485), layer=70, texttype=5))
rowslice.add(gdstk.Label('vdda', (-11.4,10.485), layer=70, texttype=5))
rowslice.add(gdstk.Label('vss', (-11.4,11.485), layer=70, texttype=5))

lib.write_gds('rowslice.gds')
